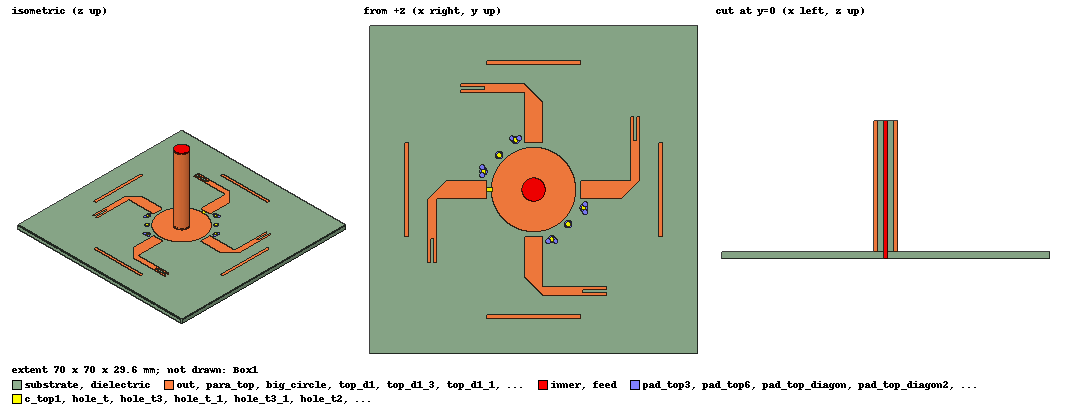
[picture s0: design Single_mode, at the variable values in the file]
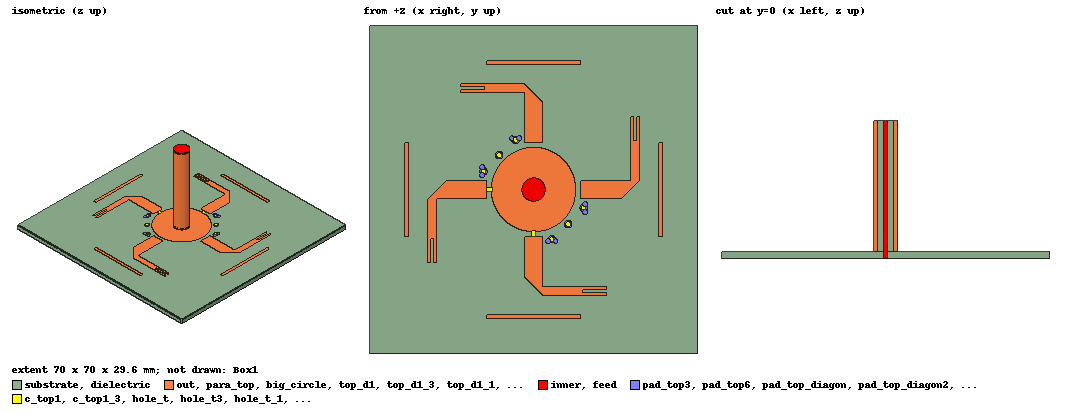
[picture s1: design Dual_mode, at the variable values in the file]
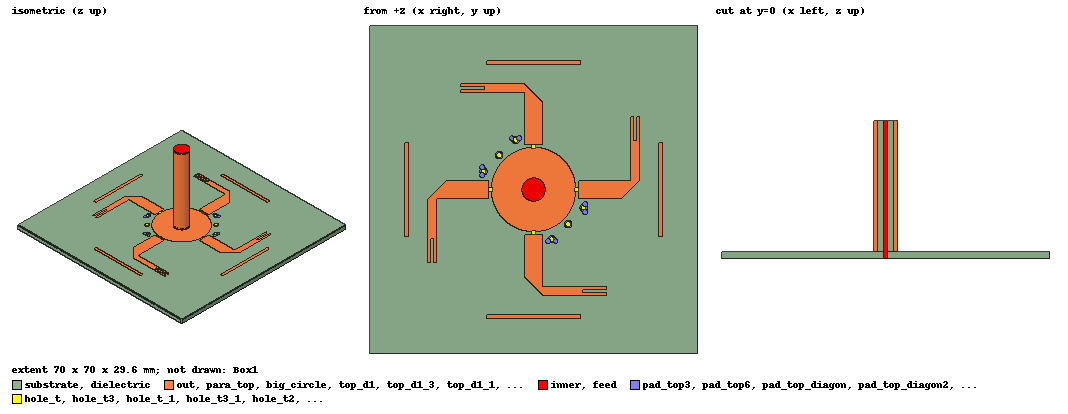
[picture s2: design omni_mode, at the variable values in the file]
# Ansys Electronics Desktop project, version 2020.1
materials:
  FR4_epoxy: permittivity=4.4 dielectric_loss_tangent=0.02
  Teflon (tm): permittivity=2.1 dielectric_loss_tangent=0.001
  pec: conductivity=1e+30
  vacuum: permittivity=1
  copper: permeability=0.999991 conductivity=58000000

design Single_mode (HFSS, DrivenModal, model units mm)
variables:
  L = 70mm
  h = 1.6mm
  rb = 9mm
  g = 1mm
  wt = 4mm
  L_tl = 22.6mm
  wd = 2mm
  L_d = 13.5mm
  rs = 1mm
  cw = 1mm
  ext = 0.2mm
  cd = 0mm
  para_d = 4mm
  para_L = 10mm
  para_w = 1mm
  y0 = 0mm
  h2 = 10mm
  box = 28mm
  sl = 5mm
  g1 = 0.5mm+g
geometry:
  substrate [FR4_epoxy] = box(corner=(-L/2, -L/2, 0mm), size=(L, L, h))
  top_TL1 = rectangle(corner=(-rb-g, -wt/2, h), x_size=-L_tl+g+rb, y_size=wt)
  big_circle = circle(normal=Z, centre=(0mm, 0mm, h), radius=rb)
  top_d1 = rectangle(corner=(-L_tl+wd, -wt/2, h), x_size=-wd, y_size=-L_d)
  bottom_d1 = rectangle(corner=(-L_tl+wd, wt/2, 0), x_size=-wd, y_size=L_d)
  bottom_TL1 = rectangle(corner=(-rs-g1, -wt/2, 0), x_size=-L_tl+g1+rs, y_size=wt)
  small_circle = circle(normal=Z, centre=(0mm, 0mm, 0), radius=rs)
  top_d1.unite(top_TL1)
  bottom_d1.unite(bottom_TL1)
  c_top1 = rectangle(corner=(-rb+ext, -cw/2, h), x_size=-g-ext, y_size=cw)
  c_bottom1 = rectangle(corner=(-rs+0.2mm, -cw/2, 0), x_size=-g-0.2mm, y_size=cw)
  c_top1_1 = c_top1.copy()
  top_d1.subtract(c_top1_1)
  c_bottom1_1 = c_bottom1.copy()
  bottom_d1.subtract(c_bottom1_1)
  c_top1_2 = c_top1.copy()
  big_circle.subtract(c_top1_2)
  c_bottom1_2 = c_bottom1.copy()
  small_circle.subtract(c_bottom1_2)
  cut_away_t = polyline(z=h, xy: (-L_tl, -wt/2+cd) (-L_tl+2*wd-cd, wt/2) (-L_tl, wt/2) (-L_tl, -wt/2+cd), closed, covered)
  cut_away_b = polyline(z=0, xy: (-L_tl, -wt/2+cd) (-L_tl+2*wd-cd, wt/2) (-L_tl, wt/2) (-L_tl, -wt/2+cd), closed, covered)
  cut_away_b.rotate(axis=X, angle=180deg)
  bottom_d1.subtract(cut_away_b)
  top_d1.subtract(cut_away_t)
  Polyline1 = polyline(z=0mm, xy: (-rs-g, -wt/2) (-rs-g+cd-2mm, -wt/2) (-rs-g, -cw/2) (-rs-g, -wt/2), closed, covered)
  Polyline1_1 = Polyline1.duplicate_around_axis(axis=X, angle=180deg, total=2)
  bottom_d1.subtract(Polyline1, Polyline1_1)
  para_top = rectangle(corner=(-L_tl-para_d, -para_L, h), x_size=-para_w, y_size=2*para_L)
  para_top_1, para_top_2, para_top_3 = para_top.duplicate_around_axis(axis=Z, angle=90deg, total=4)
  inner [pec] = cylinder(axis=Z, base_centre=(0mm, y0, 0), radius=0.5mm, height=h+box)
  inner_1 = inner.copy()
  dielectric [Teflon (tm)] = cylinder(axis=Z, base_centre=(0mm, y0, h), radius=3.55mm/2, height=box)
  dielectric_1 = dielectric.copy()
  dielectric.subtract(inner_1)
  out [pec] = cylinder(axis=Z, base_centre=(0mm, y0, h), radius=5mm/2, height=box)
  out.subtract(dielectric_1)
  Circle1 = circle(normal=Z, centre=(0mm, 0mm, h), radius=1.5mm)
  big_circle.subtract(Circle1)
  inner_2 = inner.copy()
  substrate.subtract(inner_2)
  Box1 [vacuum] = box(corner=(-L-box, -L-box, h+box), size=(2*(L+box), 2*(L+box), -box-h-box))
  feed = circle(normal=Z, centre=(0mm, 0mm, h+box), radius=2.5mm)
  pad_top_diagon = circle(normal=Z, centre=(0, rb+0.8mm+0.6mm, h), radius=0.8mm)
  pad_top_diagon.rotate(axis=Z, angle=45deg)
  pad_top1 = circle(normal=Z, centre=(-wt/2-1.1mm, rb+2mm, h), radius=0.5mm)
  pad_top2 = circle(normal=Z, centre=(-wt/2-1.1mm-1mm-0.6mm, rb+2mm, h), radius=0.5mm)
  pad_top3 = circle(normal=Z, centre=(-wt/2-1.1mm-1mm-0.6mm, rb+2mm, h), radius=0.8mm)
  pad_top3.move(-1.8mm, 0mm, 0mm)
  hole_t = circle(normal=Z, centre=(-wt/2-1.1mm-1mm-0.6mm, rb+2mm, h), radius=0.5mm)
  hole_t.move(-1.8mm, 0mm, 0mm)
  hole_t2 = circle(normal=Z, centre=(0, rb+0.8mm+0.6mm, h), radius=0.5mm)
  hole_t2.rotate(axis=Z, angle=45deg)
  pad_top4 = circle(normal=Z, centre=(-(rb+2mm), wt/2+1.1mm, h), radius=0.5mm)
  pad_top5 = circle(normal=Z, centre=(-(rb+2mm), wt/2+2*1.1mm+0.6mm, h), radius=0.5mm)
  pad_top6 = circle(normal=Z, centre=(-(rb+2mm), wt/2+3*1.1mm+2*0.6mm, h), radius=0.8mm)
  hole_t3 = circle(normal=Z, centre=(-(rb+2mm), wt/2+3*1.1mm+2*0.6mm, h), radius=0.5mm)
  coordinate_system RelativeCS1 = origin=(-14mm, 4.8mm, 1.6mm) x=(1mm, 0mm, 0mm) y=(0mm, 1mm, 0mm)
  [pad_top6, hole_t3].rotate(axis=Z, angle=-45deg) in RelativeCS1
  coordinate_system RelativeCS2 = origin=(9.3mm, 9.2mm, 0mm) x=(1mm, 0mm, 0mm) y=(0mm, 1mm, 0mm) in RelativeCS1
  [hole_t, pad_top3].rotate(axis=Z, angle=45deg) in RelativeCS2
  hole_t_1 = hole_t.duplicate_around_axis(axis=Z, angle=180deg, total=2)
  hole_t2_1 = hole_t2.duplicate_around_axis(axis=Z, angle=180deg, total=2)
  hole_t3_1 = hole_t3.duplicate_around_axis(axis=Z, angle=180deg, total=2)
  pad_top_diagon2 = pad_top_diagon.duplicate_around_axis(axis=Z, angle=180deg, total=2)
  pad_top1_1 = pad_top1.duplicate_around_axis(axis=Z, angle=180deg, total=2)
  pad_top2_1 = pad_top2.duplicate_around_axis(axis=Z, angle=180deg, total=2)
  pad_top3_1 = pad_top3.duplicate_around_axis(axis=Z, angle=180deg, total=2)
  pad_top4_1 = pad_top4.duplicate_around_axis(axis=Z, angle=180deg, total=2)
  pad_top5_1 = pad_top5.duplicate_around_axis(axis=Z, angle=180deg, total=2)
  pad_top6_1 = pad_top6.duplicate_around_axis(axis=Z, angle=180deg, total=2)
  pad_bot_diagon = circle(normal=Z, centre=(0, rb+0.8mm+0.6mm, 0), radius=0.8mm)
  pad_bot_diagon.rotate(axis=Z, angle=45deg)
  pad_bot_diagon_1 = pad_bot_diagon.duplicate_around_axis(axis=Z, angle=180deg, total=2)
  diagon_bot = rectangle(corner=(rs-0.1mm, -0.1mm, 0mm), x_size=rb/3, y_size=0.2mm)
  diagon_bot.rotate(axis=Z, angle=-45deg)
  diagon_bot1 = rectangle(corner=(rs+rb/3+0.6mm, -0.1mm, 0), x_size=rb*2/3, y_size=0.2mm)
  diagon_bot1.rotate(axis=Z, angle=-45deg)
  diagon_bot.unite(diagon_bot1)
  diagon_bot_1 = diagon_bot.duplicate_around_axis(axis=Z, angle=180deg, total=2)
  slot_top = rectangle(corner=(-L_tl+wd/3, -L_d-wt/2, h), x_size=wd/3, y_size=sl)
  slot_bottom = rectangle(corner=(-L_tl+wd/3, L_d+wt/2, 0), x_size=wd/3, y_size=-sl)
  top_d1.subtract(slot_top)
  bottom_d1.subtract(slot_bottom)
  para_top.unite(para_top_1, para_top_2, para_top_3)
  c_bottom1_3, c_bottom1_4, c_bottom1_5 = c_bottom1.duplicate_around_axis(axis=Z, angle=90deg, total=4)
  c_bottom2 = rectangle(corner=(-rs+0.2mm-g-0.2mm, -cw/2, 0), x_size=-g, y_size=cw)
  small_circle.unite(c_bottom1, c_bottom1_3, c_bottom1_4, c_bottom1_5)
  bottom_d1_1, bottom_d1_2, bottom_d1_3 = bottom_d1.duplicate_around_axis(axis=Z, angle=90deg, total=4)
  top_d1_1, top_d1_2, top_d1_3 = top_d1.duplicate_around_axis(axis=Z, angle=90deg, total=4)
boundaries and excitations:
  Rad1: Radiation Objects=Box1
  parasitic: Perfect E Objects=para_top
  FiniteCond1: Finite Conductivity Objects=[big_circle, bottom_d1, bottom_d1_1, bottom_d1_2, bottom_d1_3, c_bottom2, c_top1, diagon_bot, diagon_bot_1, pad_bot_diagon, pad_bot_diagon_1, pad_top_diagon, pad_top_diagon2, pad_top1, pad_top1_1, pad_top2, pad_top2_1, pad_top3, pad_top3_1, pad_top4, pad_top4_1, pad_top5, pad_top5_1, pad_top6, pad_top6_1, small_circle, top_d1, top_d1_1, top_d1_2, top_d1_3] UseMaterial Material=copper IsInternal
  1: Wave Port Objects=feed NumModes=1 Modes{Mode1{IntLine{centre of feed.face -> feed.vertex(1 of 1)} CharImp=Zpi RenormImp=50ohm}}
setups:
  Setup1: HfssDriven Frequency=3.5GHz MaxDeltaS=0.02 MaximumPasses=10 MinimumPasses=1 MinimumConvergedPasses=1 PercentRefinement=30 BasisOrder=1 PortAccuracy=2
    sweep Sweep: 2.5GHz to 5GHz, 30 points; Type=Fast SaveFields
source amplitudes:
  1:1: 1W 0deg
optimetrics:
  ParametricSetup1: Parametric Sim._Setups=[Setup1]
    sweep g: 1mm
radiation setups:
  Infinite Sphere1: Infinite Sphere Theta=0deg..360deg step 2deg Phi=-180deg..180deg step 2deg
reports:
  S Parameter Plot 1: dB(S(1,1)) vs Freq on Setup1 : Sweep [g=all]
  Gain Plot 1: dB(GainTotal) vs Phi, Theta on Setup1 : Sweep, Infinite Sphere1 [Freq=3.53448GHz g=1mm]

design Dual_mode (HFSS, DrivenModal, model units mm)
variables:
  L = 70mm
  h = 1.6mm
  rb = 9mm
  g = 1mm
  wt = 4mm
  L_tl = 22.6mm
  wd = 2mm
  L_d = 13.5mm
  rs = 1mm
  cw = 1mm
  ext = 0.2mm
  cd = 0mm
  para_d = 4mm
  para_L = 10mm
  para_w = 1mm
  y0 = 0mm
  h2 = 10mm
  box = 28mm
  sl = 5mm
  g1 = 0.5mm+g
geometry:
  substrate [FR4_epoxy] = box(corner=(-L/2, -L/2, 0mm), size=(L, L, h))
  top_TL1 = rectangle(corner=(-rb-g, -wt/2, h), x_size=-L_tl+g+rb, y_size=wt)
  big_circle = circle(normal=Z, centre=(0mm, 0mm, h), radius=rb)
  top_d1 = rectangle(corner=(-L_tl+wd, -wt/2, h), x_size=-wd, y_size=-L_d)
  bottom_d1 = rectangle(corner=(-L_tl+wd, wt/2, 0), x_size=-wd, y_size=L_d)
  bottom_TL1 = rectangle(corner=(-rs-g1, -wt/2, 0), x_size=-L_tl+g1+rs, y_size=wt)
  small_circle = circle(normal=Z, centre=(0mm, 0mm, 0), radius=rs)
  top_d1.unite(top_TL1)
  bottom_d1.unite(bottom_TL1)
  c_top1 = rectangle(corner=(-rb+ext, -cw/2, h), x_size=-g-ext, y_size=cw)
  c_bottom1 = rectangle(corner=(-rs+0.2mm, -cw/2, 0), x_size=-g-0.2mm, y_size=cw)
  c_top1_1 = c_top1.copy()
  top_d1.subtract(c_top1_1)
  c_bottom1_1 = c_bottom1.copy()
  bottom_d1.subtract(c_bottom1_1)
  c_top1_2 = c_top1.copy()
  big_circle.subtract(c_top1_2)
  c_bottom1_2 = c_bottom1.copy()
  small_circle.subtract(c_bottom1_2)
  cut_away_t = polyline(z=h, xy: (-L_tl, -wt/2+cd) (-L_tl+2*wd-cd, wt/2) (-L_tl, wt/2) (-L_tl, -wt/2+cd), closed, covered)
  cut_away_b = polyline(z=0, xy: (-L_tl, -wt/2+cd) (-L_tl+2*wd-cd, wt/2) (-L_tl, wt/2) (-L_tl, -wt/2+cd), closed, covered)
  cut_away_b.rotate(axis=X, angle=180deg)
  bottom_d1.subtract(cut_away_b)
  top_d1.subtract(cut_away_t)
  Polyline1 = polyline(z=0mm, xy: (-rs-g, -wt/2) (-rs-g+cd-2mm, -wt/2) (-rs-g, -cw/2) (-rs-g, -wt/2), closed, covered)
  Polyline1_1 = Polyline1.duplicate_around_axis(axis=X, angle=180deg, total=2)
  bottom_d1.subtract(Polyline1, Polyline1_1)
  para_top = rectangle(corner=(-L_tl-para_d, -para_L, h), x_size=-para_w, y_size=2*para_L)
  para_top_1, para_top_2, para_top_3 = para_top.duplicate_around_axis(axis=Z, angle=90deg, total=4)
  inner [pec] = cylinder(axis=Z, base_centre=(0mm, y0, 0), radius=0.5mm, height=h+box)
  inner_1 = inner.copy()
  dielectric [Teflon (tm)] = cylinder(axis=Z, base_centre=(0mm, y0, h), radius=3.55mm/2, height=box)
  dielectric_1 = dielectric.copy()
  dielectric.subtract(inner_1)
  out [pec] = cylinder(axis=Z, base_centre=(0mm, y0, h), radius=5mm/2, height=box)
  out.subtract(dielectric_1)
  Circle1 = circle(normal=Z, centre=(0mm, 0mm, h), radius=1.5mm)
  big_circle.subtract(Circle1)
  inner_2 = inner.copy()
  substrate.subtract(inner_2)
  Box1 [vacuum] = box(corner=(-L-box, -L-box, h+box), size=(2*(L+box), 2*(L+box), -box-h-box))
  feed = circle(normal=Z, centre=(0mm, 0mm, h+box), radius=2.5mm)
  pad_top_diagon = circle(normal=Z, centre=(0, rb+0.8mm+0.6mm, h), radius=0.8mm)
  pad_top_diagon.rotate(axis=Z, angle=45deg)
  pad_top1 = circle(normal=Z, centre=(-wt/2-1.1mm, rb+2mm, h), radius=0.5mm)
  pad_top2 = circle(normal=Z, centre=(-wt/2-1.1mm-1mm-0.6mm, rb+2mm, h), radius=0.5mm)
  pad_top3 = circle(normal=Z, centre=(-wt/2-1.1mm-1mm-0.6mm, rb+2mm, h), radius=0.8mm)
  pad_top3.move(-1.8mm, 0mm, 0mm)
  hole_t = circle(normal=Z, centre=(-wt/2-1.1mm-1mm-0.6mm, rb+2mm, h), radius=0.5mm)
  hole_t.move(-1.8mm, 0mm, 0mm)
  hole_t2 = circle(normal=Z, centre=(0, rb+0.8mm+0.6mm, h), radius=0.5mm)
  hole_t2.rotate(axis=Z, angle=45deg)
  pad_top4 = circle(normal=Z, centre=(-(rb+2mm), wt/2+1.1mm, h), radius=0.5mm)
  pad_top5 = circle(normal=Z, centre=(-(rb+2mm), wt/2+2*1.1mm+0.6mm, h), radius=0.5mm)
  pad_top6 = circle(normal=Z, centre=(-(rb+2mm), wt/2+3*1.1mm+2*0.6mm, h), radius=0.8mm)
  hole_t3 = circle(normal=Z, centre=(-(rb+2mm), wt/2+3*1.1mm+2*0.6mm, h), radius=0.5mm)
  coordinate_system RelativeCS1 = origin=(-14mm, 4.8mm, 1.6mm) x=(1mm, 0mm, 0mm) y=(0mm, 1mm, 0mm)
  [pad_top6, hole_t3].rotate(axis=Z, angle=-45deg) in RelativeCS1
  coordinate_system RelativeCS2 = origin=(9.3mm, 9.2mm, 0mm) x=(1mm, 0mm, 0mm) y=(0mm, 1mm, 0mm) in RelativeCS1
  [hole_t, pad_top3].rotate(axis=Z, angle=45deg) in RelativeCS2
  hole_t_1 = hole_t.duplicate_around_axis(axis=Z, angle=180deg, total=2)
  hole_t2_1 = hole_t2.duplicate_around_axis(axis=Z, angle=180deg, total=2)
  hole_t3_1 = hole_t3.duplicate_around_axis(axis=Z, angle=180deg, total=2)
  pad_top_diagon2 = pad_top_diagon.duplicate_around_axis(axis=Z, angle=180deg, total=2)
  pad_top1_1 = pad_top1.duplicate_around_axis(axis=Z, angle=180deg, total=2)
  pad_top2_1 = pad_top2.duplicate_around_axis(axis=Z, angle=180deg, total=2)
  pad_top3_1 = pad_top3.duplicate_around_axis(axis=Z, angle=180deg, total=2)
  pad_top4_1 = pad_top4.duplicate_around_axis(axis=Z, angle=180deg, total=2)
  pad_top5_1 = pad_top5.duplicate_around_axis(axis=Z, angle=180deg, total=2)
  pad_top6_1 = pad_top6.duplicate_around_axis(axis=Z, angle=180deg, total=2)
  pad_bot_diagon = circle(normal=Z, centre=(0, rb+0.8mm+0.6mm, 0), radius=0.8mm)
  pad_bot_diagon.rotate(axis=Z, angle=45deg)
  pad_bot_diagon_1 = pad_bot_diagon.duplicate_around_axis(axis=Z, angle=180deg, total=2)
  diagon_bot = rectangle(corner=(rs-0.1mm, -0.1mm, 0mm), x_size=rb/3, y_size=0.2mm)
  diagon_bot.rotate(axis=Z, angle=-45deg)
  diagon_bot1 = rectangle(corner=(rs+rb/3+0.6mm, -0.1mm, 0), x_size=rb*2/3, y_size=0.2mm)
  diagon_bot1.rotate(axis=Z, angle=-45deg)
  diagon_bot.unite(diagon_bot1)
  diagon_bot_1 = diagon_bot.duplicate_around_axis(axis=Z, angle=180deg, total=2)
  slot_top = rectangle(corner=(-L_tl+wd/3, -L_d-wt/2, h), x_size=wd/3, y_size=sl)
  slot_bottom = rectangle(corner=(-L_tl+wd/3, L_d+wt/2, 0), x_size=wd/3, y_size=-sl)
  top_d1.subtract(slot_top)
  bottom_d1.subtract(slot_bottom)
  para_top.unite(para_top_1, para_top_2, para_top_3)
  c_bottom1_3, c_bottom1_4, c_bottom1_5 = c_bottom1.duplicate_around_axis(axis=Z, angle=90deg, total=4)
  c_bottom2 = rectangle(corner=(-rs+0.2mm-g-0.2mm, -cw/2, 0), x_size=-g, y_size=cw)
  small_circle.unite(c_bottom1, c_bottom1_3, c_bottom1_4, c_bottom1_5)
  bottom_d1_1, bottom_d1_2, bottom_d1_3 = bottom_d1.duplicate_around_axis(axis=Z, angle=90deg, total=4)
  top_d1_1, top_d1_2, top_d1_3 = top_d1.duplicate_around_axis(axis=Z, angle=90deg, total=4)
  c_bottom2_1 = c_bottom2.duplicate_around_axis(axis=Z, angle=90deg, total=2)
  c_top1_3 = c_top1.duplicate_around_axis(axis=Z, angle=90deg, total=2)
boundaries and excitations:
  Rad1: Radiation Objects=Box1
  parasitic: Perfect E Objects=para_top
  FiniteCond1: Finite Conductivity Objects=[big_circle, bottom_d1, bottom_d1_1, bottom_d1_2, bottom_d1_3, c_bottom2, c_top1, diagon_bot, diagon_bot_1, pad_bot_diagon, pad_bot_diagon_1, pad_top_diagon, pad_top_diagon2, pad_top1, pad_top1_1, pad_top2, pad_top2_1, pad_top3, pad_top3_1, pad_top4, pad_top4_1, pad_top5, pad_top5_1, pad_top6, pad_top6_1, small_circle, top_d1, top_d1_1, top_d1_2, top_d1_3] UseMaterial Material=copper IsInternal
  PerfE1: Perfect E Objects=[c_bottom2_1, c_top1_3]
  1: Wave Port Objects=feed NumModes=1 Modes{Mode1{IntLine{centre of feed.face -> feed.vertex(1 of 1)} CharImp=Zpi RenormImp=50ohm}}
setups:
  Setup1: HfssDriven Frequency=3.5GHz MaxDeltaS=0.02 MaximumPasses=10 MinimumPasses=1 MinimumConvergedPasses=1 PercentRefinement=30 BasisOrder=1 PortAccuracy=2
    sweep Sweep: 2.5GHz to 4GHz, 121 points; Type=Fast SaveFields GenerateFieldsForAllFreqs
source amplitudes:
  1:1: 1W 0deg
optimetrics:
  ParametricSetup1: Parametric disabled Sim._Setups=[Setup1]
    sweep g: 1mm
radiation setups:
  Infinite Sphere1: Infinite Sphere Theta=0deg..360deg step 2deg Phi=-180deg..180deg step 2deg
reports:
  S Parameter Chart 1: S(1,1) on Setup1 : Sweep [Freq=3.01724GHz,3.10345GHz,3.18966GHz,3.27586GHz,3.36207GHz,3.44828GHz,3.53448GHz,3.62069GHz,3.7069GHz,3.7931GHz,3.87931GHz,3.96552GHz g=all]; markers m1 at 3.5344828GHz, m2 at 3.5344828GHz
  S Parameter Plot 1: dB(S(1,1)) vs Freq on Setup1 : Sweep [g=1mm]; markers MX1 at x=3.5007386e+09
  Gain Plot 1: dB(GainTotal) vs Phi, Theta on Setup1 : Sweep, Infinite Sphere1 [Freq=3.53448GHz g=0.5mm]

design omni_mode (HFSS, DrivenModal, model units mm)
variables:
  L = 70mm
  h = 1.6mm
  rb = 9mm
  g = 0.5mm
  wt = 4mm
  L_tl = 22.6mm
  wd = 2mm
  L_d = 13.5mm
  rs = 1mm
  cw = 1mm
  ext = 0.2mm
  cd = 0mm
  para_d = 4mm
  para_L = 10mm
  para_w = 1mm
  y0 = 0mm
  h2 = 10mm
  box = 28mm
  sl = 5mm
  g1 = 0.5mm+g
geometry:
  substrate [FR4_epoxy] = box(corner=(-L/2, -L/2, 0mm), size=(L, L, h))
  top_TL1 = rectangle(corner=(-rb-g, -wt/2, h), x_size=-L_tl+g+rb, y_size=wt)
  big_circle = circle(normal=Z, centre=(0mm, 0mm, h), radius=rb)
  top_d1 = rectangle(corner=(-L_tl+wd, -wt/2, h), x_size=-wd, y_size=-L_d)
  bottom_d1 = rectangle(corner=(-L_tl+wd, wt/2, 0), x_size=-wd, y_size=L_d)
  bottom_TL1 = rectangle(corner=(-rs-g1, -wt/2, 0), x_size=-L_tl+g1+rs, y_size=wt)
  small_circle = circle(normal=Z, centre=(0mm, 0mm, 0), radius=rs)
  top_d1.unite(top_TL1)
  bottom_d1.unite(bottom_TL1)
  c_top1 = rectangle(corner=(-rb+ext, -cw/2, h), x_size=-g-ext, y_size=cw)
  c_bottom1 = rectangle(corner=(-rs+0.2mm, -cw/2, 0), x_size=-g-0.2mm, y_size=cw)
  c_top1_1 = c_top1.copy()
  top_d1.subtract(c_top1_1)
  c_bottom1_1 = c_bottom1.copy()
  bottom_d1.subtract(c_bottom1_1)
  c_top1_2 = c_top1.copy()
  big_circle.subtract(c_top1_2)
  c_bottom1_2 = c_bottom1.copy()
  small_circle.subtract(c_bottom1_2)
  cut_away_t = polyline(z=h, xy: (-L_tl, -wt/2+cd) (-L_tl+2*wd-cd, wt/2) (-L_tl, wt/2) (-L_tl, -wt/2+cd), closed, covered)
  cut_away_b = polyline(z=0, xy: (-L_tl, -wt/2+cd) (-L_tl+2*wd-cd, wt/2) (-L_tl, wt/2) (-L_tl, -wt/2+cd), closed, covered)
  cut_away_b.rotate(axis=X, angle=180deg)
  bottom_d1.subtract(cut_away_b)
  top_d1.subtract(cut_away_t)
  Polyline1 = polyline(z=0mm, xy: (-rs-g, -wt/2) (-rs-g+cd-2mm, -wt/2) (-rs-g, -cw/2) (-rs-g, -wt/2), closed, covered)
  Polyline1_1 = Polyline1.duplicate_around_axis(axis=X, angle=180deg, total=2)
  bottom_d1.subtract(Polyline1, Polyline1_1)
  para_top = rectangle(corner=(-L_tl-para_d, -para_L, h), x_size=-para_w, y_size=2*para_L)
  para_top_1, para_top_2, para_top_3 = para_top.duplicate_around_axis(axis=Z, angle=90deg, total=4)
  inner [pec] = cylinder(axis=Z, base_centre=(0mm, y0, 0), radius=0.5mm, height=h+box)
  inner_1 = inner.copy()
  dielectric [Teflon (tm)] = cylinder(axis=Z, base_centre=(0mm, y0, h), radius=3.55mm/2, height=box)
  dielectric_1 = dielectric.copy()
  dielectric.subtract(inner_1)
  out [pec] = cylinder(axis=Z, base_centre=(0mm, y0, h), radius=5mm/2, height=box)
  out.subtract(dielectric_1)
  Circle1 = circle(normal=Z, centre=(0mm, 0mm, h), radius=1.5mm)
  big_circle.subtract(Circle1)
  inner_2 = inner.copy()
  substrate.subtract(inner_2)
  Box1 [vacuum] = box(corner=(-L-box, -L-box, h+box), size=(2*(L+box), 2*(L+box), -box-h-box))
  feed = circle(normal=Z, centre=(0mm, 0mm, h+box), radius=2.5mm)
  pad_top_diagon = circle(normal=Z, centre=(0, rb+0.8mm+0.6mm, h), radius=0.8mm)
  pad_top_diagon.rotate(axis=Z, angle=45deg)
  pad_top1 = circle(normal=Z, centre=(-wt/2-1.1mm, rb+2mm, h), radius=0.5mm)
  pad_top2 = circle(normal=Z, centre=(-wt/2-1.1mm-1mm-0.6mm, rb+2mm, h), radius=0.5mm)
  pad_top3 = circle(normal=Z, centre=(-wt/2-1.1mm-1mm-0.6mm, rb+2mm, h), radius=0.8mm)
  pad_top3.move(-1.8mm, 0mm, 0mm)
  hole_t = circle(normal=Z, centre=(-wt/2-1.1mm-1mm-0.6mm, rb+2mm, h), radius=0.5mm)
  hole_t.move(-1.8mm, 0mm, 0mm)
  hole_t2 = circle(normal=Z, centre=(0, rb+0.8mm+0.6mm, h), radius=0.5mm)
  hole_t2.rotate(axis=Z, angle=45deg)
  pad_top4 = circle(normal=Z, centre=(-(rb+2mm), wt/2+1.1mm, h), radius=0.5mm)
  pad_top5 = circle(normal=Z, centre=(-(rb+2mm), wt/2+2*1.1mm+0.6mm, h), radius=0.5mm)
  pad_top6 = circle(normal=Z, centre=(-(rb+2mm), wt/2+3*1.1mm+2*0.6mm, h), radius=0.8mm)
  hole_t3 = circle(normal=Z, centre=(-(rb+2mm), wt/2+3*1.1mm+2*0.6mm, h), radius=0.5mm)
  coordinate_system RelativeCS1 = origin=(-14mm, 4.8mm, 1.6mm) x=(1mm, 0mm, 0mm) y=(0mm, 1mm, 0mm)
  [pad_top6, hole_t3].rotate(axis=Z, angle=-45deg) in RelativeCS1
  coordinate_system RelativeCS2 = origin=(9.3mm, 9.2mm, 0mm) x=(1mm, 0mm, 0mm) y=(0mm, 1mm, 0mm) in RelativeCS1
  [hole_t, pad_top3].rotate(axis=Z, angle=45deg) in RelativeCS2
  hole_t_1 = hole_t.duplicate_around_axis(axis=Z, angle=180deg, total=2)
  hole_t2_1 = hole_t2.duplicate_around_axis(axis=Z, angle=180deg, total=2)
  hole_t3_1 = hole_t3.duplicate_around_axis(axis=Z, angle=180deg, total=2)
  pad_top_diagon2 = pad_top_diagon.duplicate_around_axis(axis=Z, angle=180deg, total=2)
  pad_top1_1 = pad_top1.duplicate_around_axis(axis=Z, angle=180deg, total=2)
  pad_top2_1 = pad_top2.duplicate_around_axis(axis=Z, angle=180deg, total=2)
  pad_top3_1 = pad_top3.duplicate_around_axis(axis=Z, angle=180deg, total=2)
  pad_top4_1 = pad_top4.duplicate_around_axis(axis=Z, angle=180deg, total=2)
  pad_top5_1 = pad_top5.duplicate_around_axis(axis=Z, angle=180deg, total=2)
  pad_top6_1 = pad_top6.duplicate_around_axis(axis=Z, angle=180deg, total=2)
  pad_bot_diagon = circle(normal=Z, centre=(0, rb+0.8mm+0.6mm, 0), radius=0.8mm)
  pad_bot_diagon.rotate(axis=Z, angle=45deg)
  pad_bot_diagon_1 = pad_bot_diagon.duplicate_around_axis(axis=Z, angle=180deg, total=2)
  diagon_bot = rectangle(corner=(rs-0.1mm, -0.1mm, 0mm), x_size=rb/3, y_size=0.2mm)
  diagon_bot.rotate(axis=Z, angle=-45deg)
  diagon_bot1 = rectangle(corner=(rs+rb/3+0.6mm, -0.1mm, 0), x_size=rb*2/3, y_size=0.2mm)
  diagon_bot1.rotate(axis=Z, angle=-45deg)
  diagon_bot.unite(diagon_bot1)
  diagon_bot_1 = diagon_bot.duplicate_around_axis(axis=Z, angle=180deg, total=2)
  slot_top = rectangle(corner=(-L_tl+wd/3, -L_d-wt/2, h), x_size=wd/3, y_size=sl)
  slot_bottom = rectangle(corner=(-L_tl+wd/3, L_d+wt/2, 0), x_size=wd/3, y_size=-sl)
  top_d1.subtract(slot_top)
  bottom_d1.subtract(slot_bottom)
  para_top.unite(para_top_1, para_top_2, para_top_3)
  c_bottom1_3, c_bottom1_4, c_bottom1_5 = c_bottom1.duplicate_around_axis(axis=Z, angle=90deg, total=4)
  c_bottom2 = rectangle(corner=(-rs+0.2mm-g-0.2mm, -cw/2, 0), x_size=-g, y_size=cw)
  small_circle.unite(c_bottom1, c_bottom1_3, c_bottom1_4, c_bottom1_5)
  bottom_d1_1, bottom_d1_2, bottom_d1_3 = bottom_d1.duplicate_around_axis(axis=Z, angle=90deg, total=4)
  top_d1_1, top_d1_2, top_d1_3 = top_d1.duplicate_around_axis(axis=Z, angle=90deg, total=4)
  c_bottom2_1 = c_bottom2.duplicate_around_axis(axis=Z, angle=90deg, total=2)
  c_top1_3 = c_top1.duplicate_around_axis(axis=Z, angle=90deg, total=2)
  c_bottom2_1_1 = c_bottom2_1.duplicate_around_axis(axis=Z, angle=180deg, total=2)
  c_top1_3_1 = c_top1_3.duplicate_around_axis(axis=Z, angle=180deg, total=2)
  c_bottom2_2 = c_bottom2.duplicate_around_axis(axis=Z, angle=180deg, total=2)
  c_top1_4 = c_top1.duplicate_around_axis(axis=Z, angle=180deg, total=2)
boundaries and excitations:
  Rad1: Radiation Objects=Box1
  parasitic: Perfect E Objects=para_top
  FiniteCond1: Finite Conductivity Objects=[big_circle, bottom_d1, bottom_d1_1, bottom_d1_2, bottom_d1_3, c_bottom2, c_top1, diagon_bot, diagon_bot_1, pad_bot_diagon, pad_bot_diagon_1, pad_top_diagon, pad_top_diagon2, pad_top1, pad_top1_1, pad_top2, pad_top2_1, pad_top3, pad_top3_1, pad_top4, pad_top4_1, pad_top5, pad_top5_1, pad_top6, pad_top6_1, small_circle, top_d1, top_d1_1, top_d1_2, top_d1_3] UseMaterial Material=copper IsInternal
  PerfE1: Perfect E Objects=[c_bottom2_1, c_top1_3]
  PerfE2: Perfect E Objects=[c_bottom2_1_1, c_bottom2_2, c_top1_3_1, c_top1_4]
  1: Wave Port Objects=feed NumModes=1 Modes{Mode1{IntLine{centre of feed.face -> feed.vertex(1 of 1)} CharImp=Zpi RenormImp=50ohm}}
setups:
  Setup1: HfssDriven Frequency=3.5GHz MaxDeltaS=0.02 MaximumPasses=10 MinimumPasses=1 MinimumConvergedPasses=1 PercentRefinement=30 BasisOrder=1 PortAccuracy=2
    sweep Sweep: 2.5GHz to 5GHz, 30 points; Type=Fast SaveFields GenerateFieldsForAllFreqs
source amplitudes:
  1:1: 1W 0deg
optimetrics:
  ParametricSetup1: Parametric disabled Sim._Setups=[Setup1]
    sweep g: 1mm
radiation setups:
  Infinite Sphere1: Infinite Sphere Theta=0deg..360deg step 2deg Phi=-180deg..180deg step 2deg
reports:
  S Parameter Chart 1: S(1,1) on Setup1 : Sweep [Freq=3.01724GHz,3.10345GHz,3.18966GHz,3.27586GHz,3.36207GHz,3.44828GHz,3.53448GHz,3.62069GHz,3.7069GHz,3.7931GHz,3.87931GHz,3.96552GHz g=all]; markers m1 at 3.5344828GHz, m2 at 3.5344828GHz
  S Parameter Plot 1: dB(S(1,1)) vs Freq on Setup1 : Sweep [g=all]; markers MX1 at x=3.5007386e+09
  Gain Plot 1: dB(GainTotal) vs Phi, Theta on Setup1 : Sweep, Infinite Sphere1 [Freq=3.53448GHz g=0.5mm]
